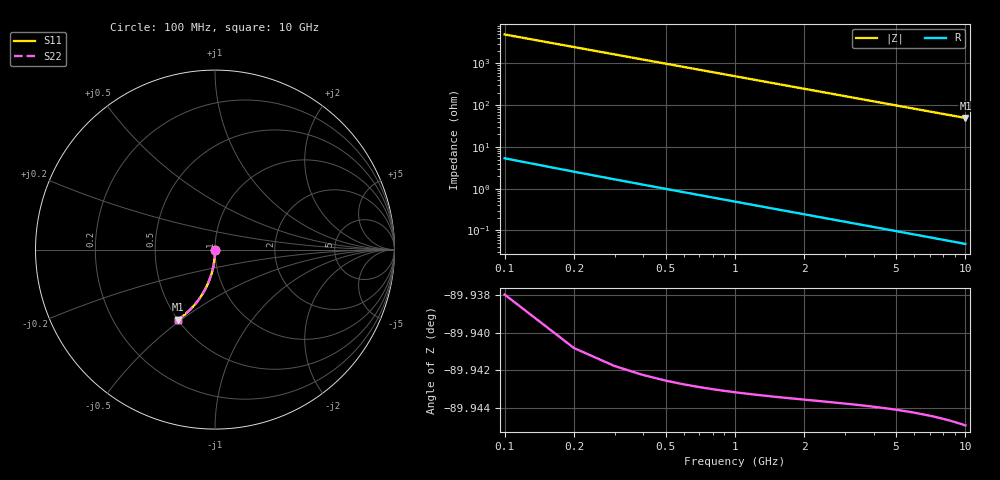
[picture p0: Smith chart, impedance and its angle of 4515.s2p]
# Hz S RI R 50.00
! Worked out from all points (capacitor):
!   100 points, 100 MHz to 10 GHz, reference 50 ohm
!   read as one part in shunt: C = 321 fF near 100 MHz
!   lowest |Z| = 49.6 ohm at 10 GHz (marker M1)
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1e8  2.21e-05 -0.00491  0.9999 -0.00518  0.9999 -0.00518  2.21e-05 -0.00491
2e8  -5.88e-05 -0.00982  0.9998 -0.0104  0.9998 -0.0104  -5.88e-05 -0.00982
3e8  -0.000191 -0.0147  0.9997 -0.0155  0.9997 -0.0155  -0.000191 -0.0147
4e8  -0.000373 -0.0196  0.9995 -0.0207  0.9995 -0.0207  -0.000373 -0.0196
5e8  -0.000607 -0.0245  0.9993 -0.0259  0.9993 -0.0259  -0.000607 -0.0245
6e8  -0.000891 -0.0294  0.999 -0.031  0.999 -0.031  -0.000891 -0.0294
7e8  -0.00123 -0.0343  0.9987 -0.0362  0.9987 -0.0362  -0.00123 -0.0343
8e8  -0.00161 -0.0392  0.9983 -0.0414  0.9983 -0.0414  -0.00161 -0.0392
9e8  -0.00205 -0.0441  0.9978 -0.0465  0.9978 -0.0465  -0.00205 -0.0441
1.1e9  -0.00307 -0.0539  0.9968 -0.0568  0.9968 -0.0568  -0.00307 -0.0539
1.4e9  -0.00498 -0.0684  0.9949 -0.0722  0.9949 -0.0722  -0.00498 -0.0684
1.8e9  -0.00821 -0.0877  0.9917 -0.0925  0.9917 -0.0925  -0.00821 -0.0877
2.1e9  -0.0112 -0.102  0.9887 -0.1076  0.9887 -0.1076  -0.0112 -0.102
2.5e9  -0.0157 -0.1209  0.9841 -0.1275  0.9841 -0.1275  -0.0157 -0.1209
2.9e9  -0.0211 -0.1395  0.9788 -0.1472  0.9788 -0.1472  -0.0211 -0.1395
3.4e9  -0.0287 -0.1623  0.9711 -0.1713  0.9711 -0.1713  -0.0287 -0.1623
4.2e9  -0.0432 -0.1974  0.9566 -0.2086  0.9566 -0.2086  -0.0432 -0.1974
5.1e9  -0.0625 -0.2349  0.9373 -0.2485  0.9373 -0.2485  -0.0625 -0.2349
5.9e9  -0.0819 -0.2661  0.9178 -0.2818  0.9178 -0.2818  -0.0819 -0.2661
6.7e9  -0.1033 -0.2951  0.8964 -0.313  0.8964 -0.313  -0.1033 -0.2951
8.4e9  -0.1536 -0.349  0.8461 -0.3715  0.8461 -0.3715  -0.1536 -0.349
1e10  -0.2049 -0.3898  0.7946 -0.4168  0.7946 -0.4168  -0.2049 -0.3898
